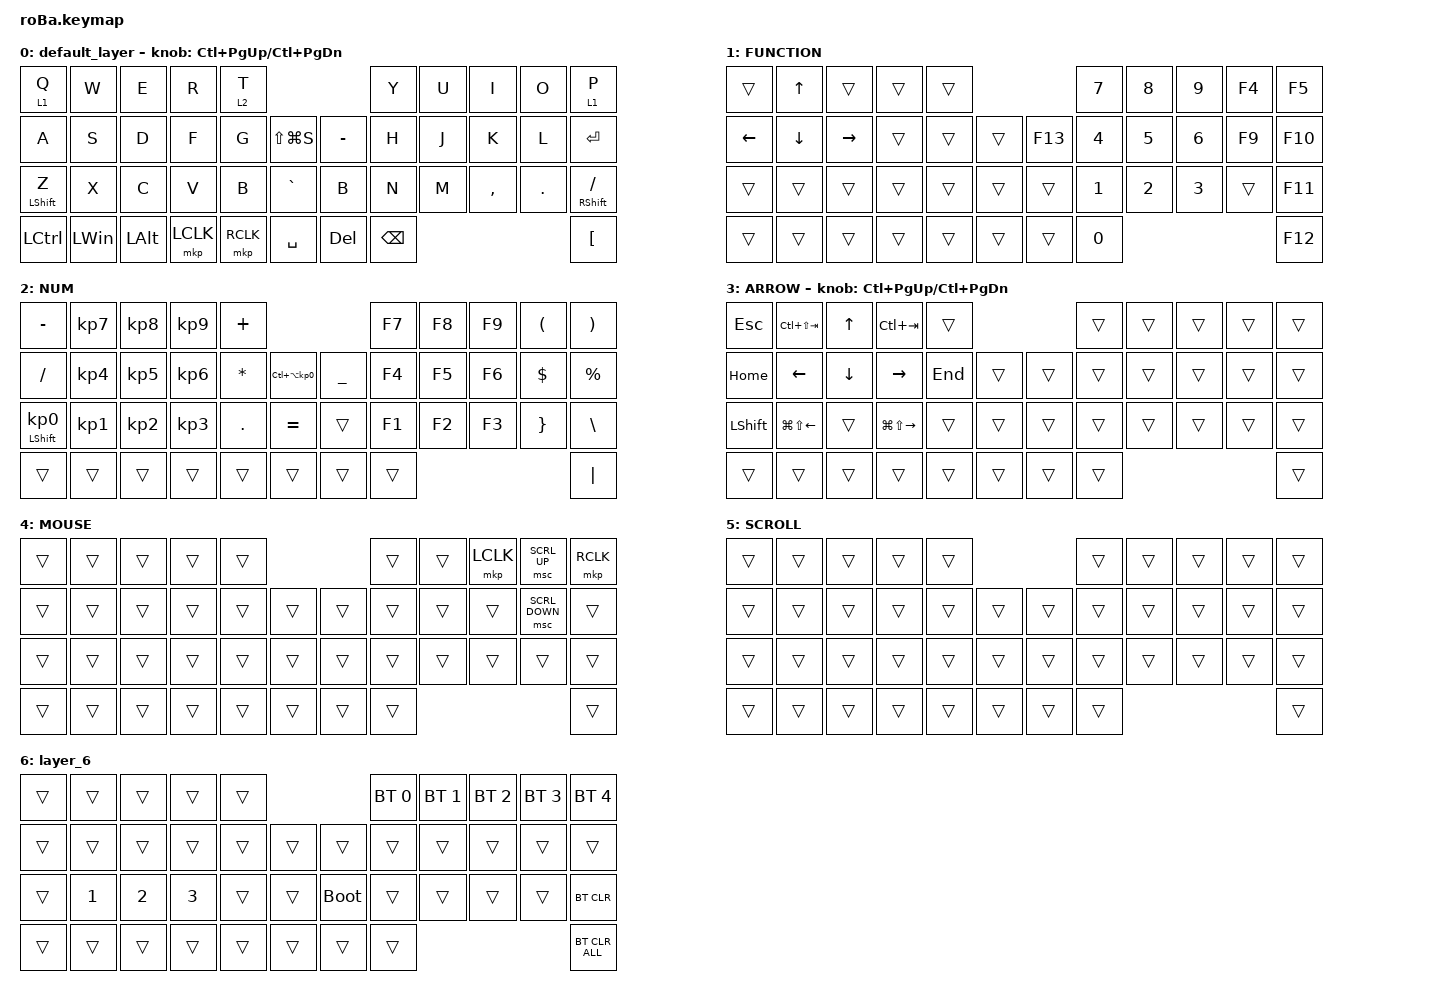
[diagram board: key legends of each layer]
#include <behaviors.dtsi>
#include <dt-bindings/zmk/bt.h>
#include <dt-bindings/zmk/keys.h>
#include <dt-bindings/zmk/pointing.h>

&mt {
    flavor = "balanced";
    quick-tap-ms = <0>;
};

&trackball {
    automouse-layer = <4>;
    scroll-layers = <5>;

    // arrows {
    //     layers = <3>;
    //     bindings =
    //         <&kp RIGHT_ARROW>,
    //         <&kp LEFT_ARROW>,
    //         <&kp UP_ARROW>,
    //         <&kp DOWN_ARROW>;
    //     tick = <10>;
    //     wait-ms = <5>;
    //     tap-ms = <5>;
    // };
};

/ {
    combos {
        compatible = "zmk,combos";

        tab {
            bindings = <&kp TAB>;
            key-positions = <11 10>;
        };

        esc {
            bindings = <&kp ESC>;
            key-positions = <0 1 2>;
        };

        kagikakko {
            bindings = <&kp RIGHT_BRACKET>;
            key-positions = <20 21>;
        };

        migikagikakko {
            bindings = <&kp BACKSLASH>;
            key-positions = <32 33>;
        };

        at {
            bindings = <&kp LS(N9)>;
            key-positions = <19 20>;
        };

        bluetooth {
            bindings = <&lt 6 B>;
            key-positions = <26 27>;
        };

        tenten {
            bindings = <&kp COLON>;
            key-positions = <31 32>;
        };

        mouseup {
            bindings = <&msc SCRL_UP>;
            key-positions = <4 3>;
        };

        mousedown {
            bindings = <&msc SCRL_DOWN>;
            key-positions = <13 14>;
        };

        mouseright {
            bindings = <&msc SCRL_RIGHT>;
            key-positions = <2 3>;
        };

        mouse {
            bindings = <&msc SCRL_LEFT>;
            key-positions = <13 12>;
        };

        middleclick {
            bindings = <&mkp MCLK>;
            key-positions = <8 20>;
        };

        middletwo {
            bindings = <&mkp MCLK>;
            key-positions = <3 13>;
        };

        hidarikakko {
            bindings = <&kp LS(N8)>;
            key-positions = <7 8>;
        };

        minus {
            bindings = <&kp MINUS>;
            key-positions = <8 9>;
        };

        gengokirikae {
            bindings = <&kp GRAVE>;
            key-positions = <0 1>;
        };
    };

    macros {
        to_layer_0: to_layer_0 {
            compatible = "zmk,behavior-macro-one-param";
            #binding-cells = <1>;
            bindings = <&to 0 &macro_param_1to1 &kp MACRO_PLACEHOLDER>;
            label = "TO_LAYER_0";
        };
    };

    behaviors {
        lt_to_layer_0: lt_to_layer_0 {
            compatible = "zmk,behavior-hold-tap";
            label = "LAYER_TAP_TO_0";
            bindings = <&mo>, <&to_layer_0>;

            #binding-cells = <2>;
            tapping-term-ms = <200>;
        };
    };

    keymap {
        compatible = "zmk,keymap";

        default_layer {
            bindings = <
&lt 1 Q           &kp W         &kp E         &kp R      &lt 2 T                                   &kp Y          &kp U  &kp I      &kp O    &lt 1 P
&kp A             &kp S         &kp D         &kp F      &kp G      &kp LS(LG(S))      &kp MINUS   &kp H          &kp J  &kp K      &kp L    &kp RET
&mt LEFT_SHIFT Z  &kp X         &kp C         &kp V      &kp B      &kp GRAVE          &kp B       &kp N          &kp M  &kp COMMA  &kp DOT  &mt RIGHT_SHIFT SLASH
&kp LCTRL         &kp LEFT_WIN  &kp LEFT_ALT  &mkp LCLK  &mkp RCLK  &kp SPACE          &kp DELETE  &kp BACKSPACE                             &kp LBKT
            >;

            sensor-bindings = <&inc_dec_kp LC(PAGE_UP) LC(PAGE_DOWN)>;
        };

        FUNCTION {
            bindings = <
&trans    &kp UP_ARROW  &trans     &trans  &trans                       &kp N7        &kp N8        &kp N9        &kp F4  &kp F5
&kp LEFT  &kp DOWN      &kp RIGHT  &trans  &trans  &trans      &kp F13  &kp NUMBER_4  &kp N5        &kp NUMBER_6  &kp F9  &kp F10
&trans    &trans        &trans     &trans  &trans  &trans      &trans   &kp NUMBER_1  &kp NUMBER_2  &kp NUMBER_3  &trans  &kp F11
&trans    &trans        &trans     &trans  &trans  &trans      &trans   &kp N0                                            &kp F12
            >;
        };

        NUM {
            bindings = <
&kp MINUS                   &kp KP_NUMBER_7  &kp KP_NUMBER_8  &kp KP_NUMBER_9  &kp PLUS                                                   &kp F7  &kp F8  &kp F9  &kp LEFT_PARENTHESIS  &kp RIGHT_PARENTHESIS
&kp SLASH                   &kp KP_NUMBER_4  &kp KP_NUMBER_5  &kp KP_NUMBER_6  &kp ASTERISK  &kp LC(LA(KP_NUMBER_0))      &kp UNDERSCORE  &kp F4  &kp F5  &kp F6  &kp DOLLAR            &kp PERCENT
&mt LEFT_SHIFT KP_NUMBER_0  &kp KP_NUMBER_1  &kp KP_NUMBER_2  &kp KP_NUMBER_3  &kp PERIOD    &kp EQUAL                    &trans          &kp F1  &kp F2  &kp F3  &kp RIGHT_BRACE       &kp BACKSLASH
&trans                      &trans           &trans           &trans           &trans        &trans                       &trans          &trans                                        &kp PIPE
            >;
        };

        ARROW {
            bindings = <
&kp ESCAPE      &kp LC(LS(TAB))         &kp UP_ARROW    &kp LC(TAB)              &trans                       &trans  &trans  &trans  &trans  &trans
&kp HOME        &kp LEFT_ARROW          &kp DOWN_ARROW  &kp RIGHT_ARROW          &kp END  &trans      &trans  &trans  &trans  &trans  &trans  &trans
&kp LEFT_SHIFT  &kp LG(LS(LEFT_ARROW))  &trans          &kp LG(LS(RIGHT_ARROW))  &trans   &trans      &trans  &trans  &trans  &trans  &trans  &trans
&trans          &trans                  &trans          &trans                   &trans   &trans      &trans  &trans                          &trans
            >;

            sensor-bindings = <&inc_dec_kp LC(PAGE_UP) LC(PAGE_DOWN)>;
        };

        MOUSE {
            bindings = <
&trans  &trans  &trans  &trans  &trans                      &trans  &trans  &mkp LCLK  &msc SCRL_UP    &mkp RCLK
&trans  &trans  &trans  &trans  &trans  &trans      &trans  &trans  &trans  &trans     &msc SCRL_DOWN  &trans
&trans  &trans  &trans  &trans  &trans  &trans      &trans  &trans  &trans  &trans     &trans          &trans
&trans  &trans  &trans  &trans  &trans  &trans      &trans  &trans                                     &trans
            >;
        };

        SCROLL {
            bindings = <
&trans  &trans  &trans  &trans  &trans                      &trans  &trans  &trans  &trans  &trans
&trans  &trans  &trans  &trans  &trans  &trans      &trans  &trans  &trans  &trans  &trans  &trans
&trans  &trans  &trans  &trans  &trans  &trans      &trans  &trans  &trans  &trans  &trans  &trans
&trans  &trans  &trans  &trans  &trans  &trans      &trans  &trans                          &trans
            >;
        };

        layer_6 {
            bindings = <
&trans  &trans        &trans        &trans        &trans                           &bt BT_SEL 0  &bt BT_SEL 1  &bt BT_SEL 2  &bt BT_SEL 3  &bt BT_SEL 4
&trans  &trans        &trans        &trans        &trans  &trans      &trans       &trans        &trans        &trans        &trans        &trans
&trans  &kp NUMBER_1  &kp NUMBER_2  &kp NUMBER_3  &trans  &trans      &bootloader  &trans        &trans        &trans        &trans        &bt BT_CLR
&trans  &trans        &trans        &trans        &trans  &trans      &trans       &trans                                                  &bt BT_CLR_ALL
            >;
        };
    };
};
